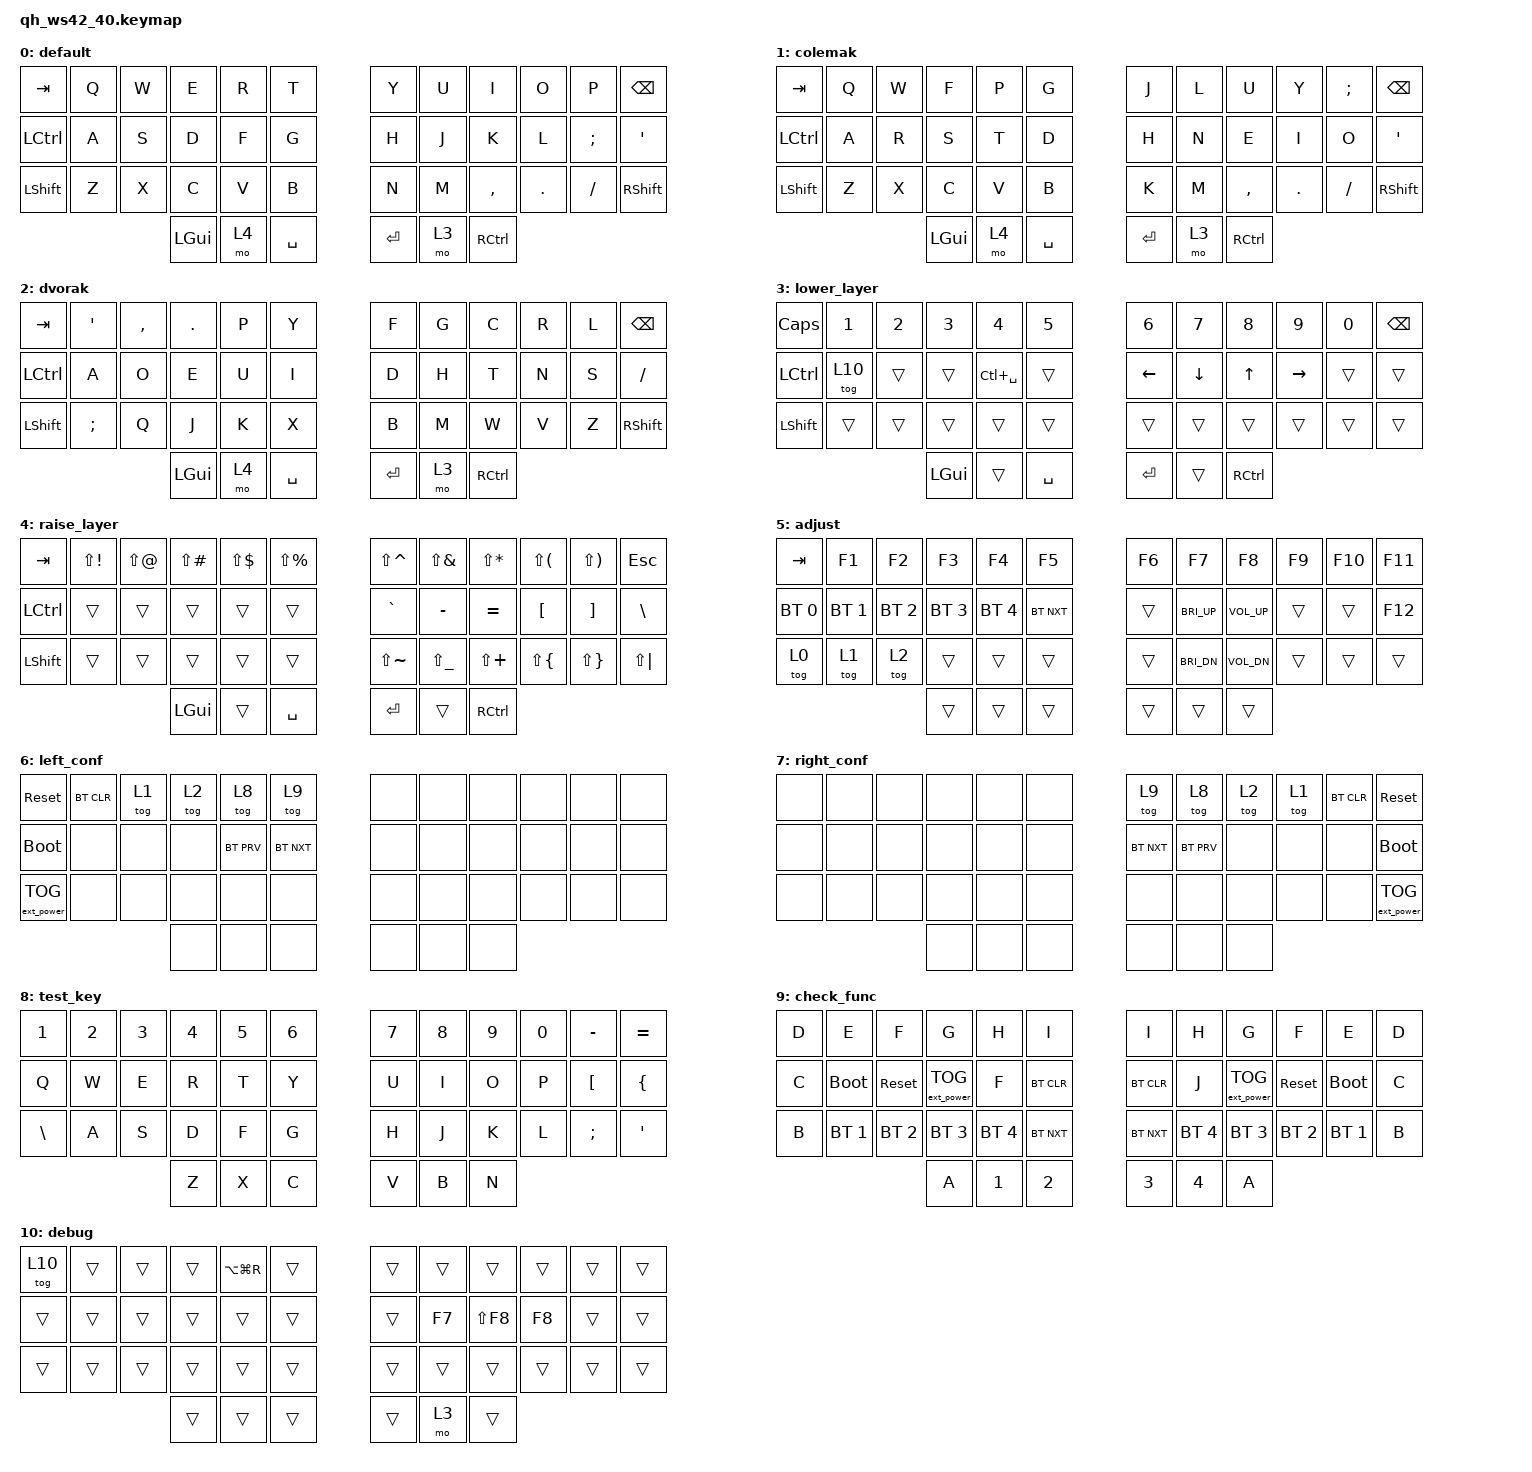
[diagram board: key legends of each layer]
/*
 * Copyright (c) 2020 The ZMK Contributors
 *
 * SPDX-License-Identifier: MIT
 */

#include <behaviors.dtsi>
#include <dt-bindings/zmk/bt.h>
#include <dt-bindings/zmk/ext_power.h>
#include <dt-bindings/zmk/keys.h>

/ {
    // behaviors {
    // DFU AOT
    //     bootloader: behavior_reset_dfu {
    //         compatible = "zmk,behavior-reset";
    //         label = "BOOTLOAD";
    //         type = <0xA8>;
    //         #binding-cells = <0>;
    //     };
    // };

    combos {
        compatible = "zmk,combos";

        l_reset {
            bindings = <&sys_reset>;
            key-positions = <0 1 5>;
        };

        r_reset {
            bindings = <&sys_reset>;
            key-positions = <11 10 6>;
        };

        l_boot {
            bindings = <&bootloader>;
            key-positions = <0 1 17>;
        };

        r_boot {
            bindings = <&bootloader>;
            key-positions = <11 10 18>;
        };

        l_alt {
            bindings = <&kp LEFT_ALT>;
            key-positions = <16 37>;
        };

        l_s_alt {
            bindings = <&kp LG(LEFT_ALT)>;
            key-positions = <15 37>;
        };

        l_ctrl {
            bindings = <&kp LCTRL>;
            key-positions = <14 37>;
        };

        l_ctrl_a {
            bindings = <&kp LC(A)>;
            key-positions = <13 37>;
        };

        r_alt {
            bindings = <&kp RALT>;
            key-positions = <19 40>;
        };

        r_s_alt {
            bindings = <&kp RG(RIGHT_ALT)>;
            key-positions = <40 20>;
        };

        r_ctrl {
            bindings = <&kp RCTRL>;
            key-positions = <21 40>;
        };

        r_ctrl_alt {
            bindings = <&kp RA(RCTRL)>;
            key-positions = <22 40>;
        };

        left_conf {
            bindings = <&tog 6>;
            key-positions = <1 0 38>;
        };

        right_conf {
            bindings = <&tog 7>;
            key-positions = <10 11 39>;
        };
    };

    keymap {
        compatible = "zmk,keymap";

        default {
            bindings = <
&kp TAB    &kp Q  &kp W  &kp E     &kp R  &kp T      &kp Y    &kp U  &kp I      &kp O    &kp P     &kp BSPC
&kp LCTRL  &kp A  &kp S  &kp D     &kp F  &kp G      &kp H    &kp J  &kp K      &kp L    &kp SEMI  &kp SQT
&kp LSHFT  &kp Z  &kp X  &kp C     &kp V  &kp B      &kp N    &kp M  &kp COMMA  &kp DOT  &kp FSLH  &kp RSHFT
                         &kp LGUI  &mo 4  &kp SPACE  &kp RET  &mo 3  &kp RCTRL
            >;
        };

        colemak {
            bindings = <
&kp TAB    &kp Q  &kp W  &kp F     &kp P  &kp G      &kp J    &kp L  &kp U      &kp Y    &kp SEMI  &kp BSPC
&kp LCTRL  &kp A  &kp R  &kp S     &kp T  &kp D      &kp H    &kp N  &kp E      &kp I    &kp O     &kp APOS
&kp LSHFT  &kp Z  &kp X  &kp C     &kp V  &kp B      &kp K    &kp M  &kp COMMA  &kp DOT  &kp FSLH  &kp RSHFT
                         &kp LGUI  &mo 4  &kp SPACE  &kp RET  &mo 3  &kp RCTRL
            >;
        };

        dvorak {
            bindings = <
&kp TAB    &kp APOS  &kp COMMA  &kp DOT   &kp P  &kp Y      &kp F    &kp G  &kp C      &kp R  &kp L  &kp BSPC
&kp LCTRL  &kp A     &kp O      &kp E     &kp U  &kp I      &kp D    &kp H  &kp T      &kp N  &kp S  &kp FSLH
&kp LSHFT  &kp SEMI  &kp Q      &kp J     &kp K  &kp X      &kp B    &kp M  &kp W      &kp V  &kp Z  &kp RSHFT
                                &kp LGUI  &mo 4  &kp SPACE  &kp RET  &mo 3  &kp RCTRL
            >;
        };

        lower_layer {
            bindings = <
&kp CAPS   &kp N1   &kp N2  &kp N3    &kp N4         &kp N5     &kp N6    &kp N7    &kp N8     &kp N9     &kp N0  &kp BSPC
&kp LCTRL  &tog 10  &trans  &trans    &kp LC(SPACE)  &trans     &kp LEFT  &kp DOWN  &kp UP     &kp RIGHT  &trans  &trans
&kp LSHFT  &trans   &trans  &trans    &trans         &trans     &trans    &trans    &trans     &trans     &trans  &trans
                            &kp LGUI  &trans         &kp SPACE  &kp RET   &trans    &kp RCTRL
            >;
        };

        raise_layer {
            bindings = <
&kp TAB    &kp LS(EXCL)  &kp LS(AT)  &kp LS(POUND)  &kp LS(DLLR)  &kp LS(PRCNT)  &kp LS(CARET)  &kp LS(AMPS)   &kp LS(STAR)  &kp LS(LPAR)        &kp LS(RPAR)       &kp ESC
&kp LCTRL  &trans        &trans      &trans         &trans        &trans         &kp GRAVE      &kp MINUS      &kp EQUAL     &kp LBKT            &kp RIGHT_BRACKET  &kp BSLH
&kp LSHFT  &trans        &trans      &trans         &trans        &trans         &kp LS(TILDE)  &kp LS(UNDER)  &kp LS(PLUS)  &kp LS(LEFT_BRACE)  &kp LS(RBRC)       &kp LS(PIPE)
                                     &kp LGUI       &trans        &kp SPACE      &kp RET        &trans         &kp RCTRL
            >;
        };

        adjust {
            bindings = <
&kp TAB       &kp F1        &kp F2        &kp F3        &kp F4        &kp F5      &kp F6  &kp F7        &kp F8        &kp F9  &kp F10  &kp F11
&bt BT_SEL 0  &bt BT_SEL 1  &bt BT_SEL 2  &bt BT_SEL 3  &bt BT_SEL 4  &bt BT_NXT  &trans  &kp C_BRI_UP  &kp C_VOL_UP  &trans  &trans   &kp F12
&tog 0        &tog 1        &tog 2        &trans        &trans        &trans      &trans  &kp C_BRI_DN  &kp C_VOL_DN  &trans  &trans   &trans
                                          &trans        &trans        &trans      &trans  &trans        &trans
            >;
        };

        left_conf {
            bindings = <
&sys_reset         &bt BT_CLR  &tog 1  &tog 2  &tog 8      &tog 9      &none  &none  &none  &none  &none  &none
&bootloader        &none       &none   &none   &bt BT_PRV  &bt BT_NXT  &none  &none  &none  &none  &none  &none
&ext_power EP_TOG  &none       &none   &none   &none       &none       &none  &none  &none  &none  &none  &none
                                       &none   &none       &none       &none  &none  &none
            >;
        };

        right_conf {
            bindings = <
&none  &none  &none  &none  &none  &none  &tog 9      &tog 8      &tog 2  &tog 1  &bt BT_CLR  &sys_reset
&none  &none  &none  &none  &none  &none  &bt BT_NXT  &bt BT_PRV  &none   &none   &none       &bootloader
&none  &none  &none  &none  &none  &none  &none       &none       &none   &none   &none       &ext_power EP_TOG
                     &none  &none  &none  &none       &none       &none
            >;
        };

        test_key {
            bindings = <
&kp N1    &kp N2  &kp N3  &kp N4  &kp N5  &kp N6  &kp N7  &kp N8  &kp N9  &kp N0  &kp MINUS  &kp EQUAL
&kp Q     &kp W   &kp E   &kp R   &kp T   &kp Y   &kp U   &kp I   &kp O   &kp P   &kp LBKT   &kp LBRC
&kp BSLH  &kp A   &kp S   &kp D   &kp F   &kp G   &kp H   &kp J   &kp K   &kp L   &kp SEMI   &kp SQT
                          &kp Z   &kp X   &kp C   &kp V   &kp B   &kp N
            >;
        };

        check_func {
            bindings = <
&kp D  &kp E         &kp F         &kp G              &kp H         &kp I       &kp I       &kp H         &kp G              &kp F         &kp E         &kp D
&kp C  &bootloader   &sys_reset    &ext_power EP_TOG  &kp F         &bt BT_CLR  &bt BT_CLR  &kp J         &ext_power EP_TOG  &sys_reset    &bootloader   &kp C
&kp B  &bt BT_SEL 1  &bt BT_SEL 2  &bt BT_SEL 3       &bt BT_SEL 4  &bt BT_NXT  &bt BT_NXT  &bt BT_SEL 4  &bt BT_SEL 3       &bt BT_SEL 2  &bt BT_SEL 1  &kp B
                                   &kp A              &kp N1        &kp N2      &kp N3      &kp N4        &kp A
            >;
        };

        debug {
            bindings = <
&tog 10  &trans  &trans  &trans  &kp LA(LG(R))  &trans  &trans  &trans  &trans      &trans  &trans  &trans
&trans   &trans  &trans  &trans  &trans         &trans  &trans  &kp F7  &kp LS(F8)  &kp F8  &trans  &trans
&trans   &trans  &trans  &trans  &trans         &trans  &trans  &trans  &trans      &trans  &trans  &trans
                         &trans  &trans         &trans  &trans  &mo 3   &trans
            >;
        };
    };

    conditional_layers {
        compatible = "zmk,conditional-layers";

        media_active {
            if-layers = <3 4>;
            then-layer = <5>;
        };
    };
};
